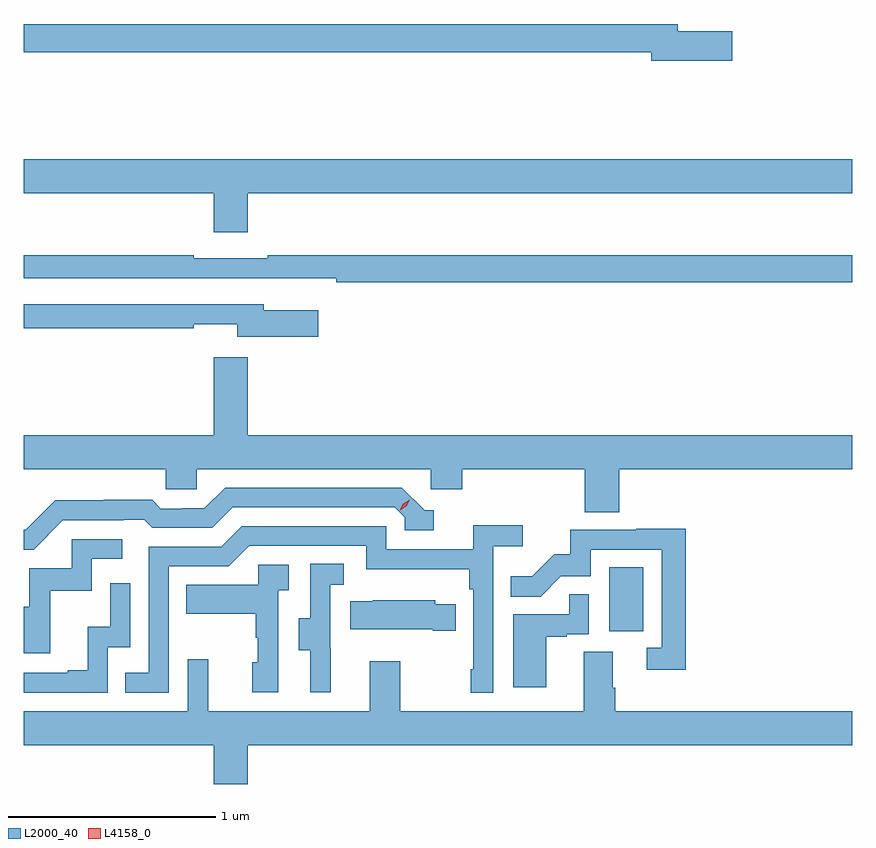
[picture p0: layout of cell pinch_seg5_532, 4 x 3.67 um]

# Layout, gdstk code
import gdstk
lib = gdstk.Library(unit=1e-6, precision=1e-09)
def R(c, l, rs):  # rectangles x0, y0, x1, y1
    for r in rs: c.add(gdstk.rectangle(r[:2], r[2:], *l))
def P(c, l, *ps):  # polygons
    for p in ps: c.add(gdstk.Polygon(p, *l))
L2000_40 = (2000, 40)
L4158_0 = (4158, 0)

pinch_seg5_532 = lib.new_cell('pinch_seg5_532')
R(pinch_seg5_532, L2000_40, [(958.124,846.654,958.288,846.961)])
P(pinch_seg5_532, L2000_40, [(958.717,849.548),(958.456,849.548),(958.456,849.584),(955.298,849.584),(955.298,849.448),(958.328,849.448),(958.328,849.406),(958.717,849.406)],
  [(956.38,848.768),(959.298,848.768),(959.298,848.932),(955.298,848.932),(955.298,848.768),(956.216,848.768),(956.216,848.58),(956.38,848.58)],
  [(959.298,848.467),(956.476,848.467),(956.476,848.454),(956.12,848.454),(956.12,848.467),(955.298,848.467),(955.298,848.358),(956.554,848.358),(956.554,848.357),(956.806,848.357),(956.806,848.338),(959.298,848.338)],
  [(956.719,848.203),(956.458,848.203),(956.458,848.232),(955.298,848.232),(955.298,848.116),(956.12,848.116),(956.12,848.135),(956.33,848.135),(956.33,848.074),(956.719,848.074)],
  [(958.172,847.436),(959.298,847.436),(959.298,847.6),(956.38,847.6),(956.38,847.975),(956.216,847.975),(956.216,847.6),(955.298,847.6),(955.298,847.436),(955.983,847.436),(955.983,847.338),(956.133,847.338),(956.133,847.436),(957.264,847.436),(957.264,847.338),(957.416,847.338),(957.416,847.436),(958.007,847.436),(958.007,847.228),(958.172,847.228)],
  [(955.488,847.188),(955.781,847.188),(955.781,847.191),(955.88,847.191),(955.919,847.152),(956.208,847.152),(956.307,847.251),(957.09,847.251),(957.138,847.203),(957.138,847.14),(957.277,847.14),(957.277,847.236),(957.234,847.236),(957.123,847.347),(956.27,847.347),(956.171,847.248),(956.064,847.248),(956.064,847.245),(955.961,847.245),(955.919,847.288),(955.686,847.288),(955.686,847.285),(955.45,847.285),(955.308,847.143),(955.298,847.143),(955.298,847.047),(955.347,847.047)],
  [(955.998,846.966),(956.289,846.966),(956.388,847.065),(956.952,847.065),(956.952,846.953),(957.448,846.953),(957.448,846.857),(957.468,846.857),(957.468,846.469),(957.456,846.469),(957.456,846.357),(957.564,846.357),(957.564,847.064),(957.706,847.064),(957.706,847.166),(957.467,847.166),(957.467,847.05),(957.048,847.05),(957.048,847.161),(956.351,847.161),(956.252,847.062),(955.902,847.062),(955.902,846.453),(955.789,846.453),(955.789,846.357),(955.998,846.357)],
  [(958.493,847.148),(958.255,847.148),(958.255,847.143),(957.937,847.143),(957.937,847.026),(957.86,847.026),(957.753,846.919),(957.649,846.919),(957.649,846.82),(957.793,846.82),(957.891,846.918),(958.035,846.918),(958.035,847.047),(958.377,847.047),(958.377,846.573),(958.305,846.573),(958.305,846.468),(958.493,846.468)],
  [(955.427,846.849),(955.626,846.849),(955.626,847.002),(955.774,847.002),(955.774,847.098),(955.53,847.098),(955.53,846.957),(955.325,846.957),(955.325,846.771),(955.298,846.771),(955.298,846.546),(955.427,846.546)],
  [(956.78,846.573),(956.778,846.573),(956.778,846.877),(956.842,846.877),(956.842,846.98),(956.682,846.98),(956.682,846.717),(956.627,846.717),(956.627,846.562),(956.681,846.562),(956.681,846.36),(956.78,846.36)],
  [(956.526,846.851),(956.578,846.851),(956.578,846.975),(956.43,846.975),(956.43,846.877),(956.083,846.877),(956.083,846.737),(956.418,846.737),(956.418,846.623),(956.428,846.623),(956.428,846.504),(956.402,846.504),(956.402,846.36),(956.526,846.36)],
  [(955.704,846.576),(955.812,846.576),(955.812,846.886),(955.716,846.886),(955.716,846.674),(955.607,846.674),(955.607,846.466),(955.511,846.466),(955.511,846.453),(955.298,846.453),(955.298,846.357),(955.704,846.357)],
  [(957.82,846.627),(957.92,846.627),(957.92,846.639),(958.026,846.639),(958.026,846.833),(957.931,846.833),(957.931,846.735),(957.662,846.735),(957.662,846.384),(957.82,846.384)],
  [(957.383,846.784),(957.285,846.784),(957.285,846.802),(956.983,846.802),(956.983,846.799),(956.875,846.799),(956.875,846.662),(957.272,846.662),(957.272,846.655),(957.383,846.655)],
  [(956.38,846.104),(959.298,846.104),(959.298,846.268),(958.154,846.268),(958.154,846.38),(958.141,846.38),(958.141,846.554),(958.001,846.554),(958.001,846.268),(957.117,846.268),(957.117,846.508),(956.969,846.508),(956.969,846.268),(956.189,846.268),(956.189,846.517),(956.091,846.517),(956.091,846.268),(955.298,846.268),(955.298,846.104),(956.216,846.104),(956.216,845.916),(956.38,845.916)])
P(pinch_seg5_532, L4158_0, [(957.114,847.237),(957.114,847.237),(957.131,847.269),(957.161,847.289),(957.162,847.289),(957.162,847.288),(957.145,847.256),(957.115,847.237)])

lib.write_gds('pinch_seg5_532.gds')
